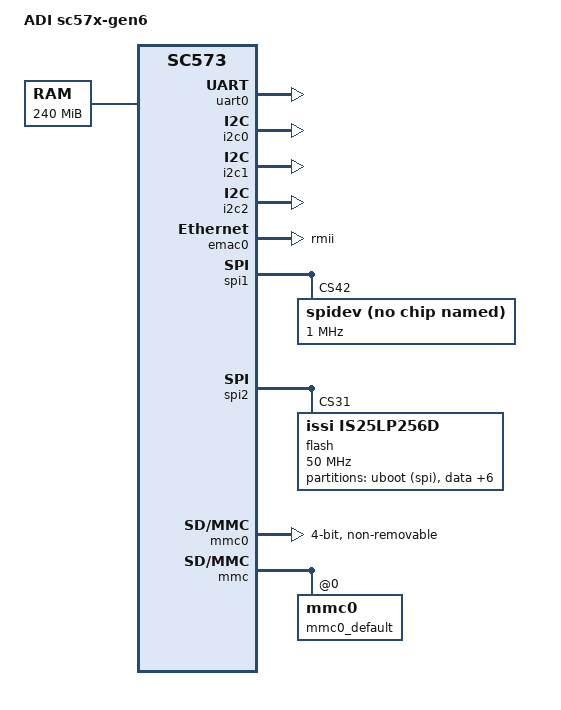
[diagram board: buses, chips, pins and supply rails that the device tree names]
/*
 * Device tree for ADI sc57x-gen6 board
 *
 * Copyright 2014 Analog Devices Inc.
 *
 * Licensed under the GPL-2 or later.
 *
 */

/dts-v1/;

#include "sc57x.dtsi"

/ {
	model = "ADI sc57x-gen6";
	compatible = "adi,sc57x-gen6", "adi,sc57x";

	aliases {
	};

	memory@80000000 {
		device_type = "memory";
		reg = <0x80000000 0xF000000>;
	};

	reserved-memory {
		#address-cells = <1>;
		#size-cells = <1>;
		ranges;

		cont_memory: dsp_res@0x80000000 {
			compatible = "iris,gen6-cont-memory";
			reg = <0x80000000 0x1000000>;
			reg-names = "cont_memory";
		};

		cont_memory_dma: ddr_res_dma@0x80000000 {
			compatible = "iris,gen6-cont-dma-memory";
			reg = <0x81000000 0x1000000>;
			reg-names = "cont_memory_dma";
		};

		sram_mem_dma: sram_res_dma@0x20001000 {
			compatible = "iris,gen6-cont-dma-memory";
			reg = <0x20001000 0x000FE000>;
			reg-names = "sram_mem_dma";
		};

	};

	scb {
		cont_memory_dma {
			compatible = "iris,gen6-cont-dma-memory";
			memory-region = <&sram_mem_dma &cont_memory_dma>;
		};

		cont_memory {
			compatible = "iris,gen6-cont-memory";
			memory-region = <&cont_memory>;
		};

		left_sharc: left_sharc@0x20000000 {
			compatible = "iris,sharc";
			reg = <0x20000000 0x0800>;
			coreid = <1>;
			interrupt-parent = <&gic>;
			interrupts = <GIC_SPI 203 IRQ_TYPE_EDGE_RISING>;
		};
		right_sharc: right_sharc@0x20000800 {
			compatible = "iris,sharc";
			reg = <0x20000800 0x0800>;
			coreid = <2>;
			interrupt-parent = <&gic>;
			interrupts = <GIC_SPI 204 IRQ_TYPE_EDGE_RISING>;
		};

		cache_flush {
			compatible = "iris,cachecontrol-flush";
		};

		gptimer3: gptimer@0x310180C0 {
			compatible = "adi,sc57x-timer,aptina-clk";
		};

		uart0: uart@0x31003000 {
			pinctrl-names = "default", "hwflow";
			pinctrl-0 = <&uart0_default>;
			pinctrl-1 = <&uart0_hwflow>;
			status = "okay";
		};

		i2c0: twi@0x31001400 {
			status = "okay";
		};

		i2c1: twi@0x31001500 {
			status = "okay";
		};

		i2c2: twi@0x31001600 {
			status = "okay";
		};

		tmu@0x31016800 {
			compatible = "adi,sc57x-tmu";
			reg = <0x31016800 0x3C>; 
			interrupt-parent = <&gic>;
			interrupts =	<GIC_SPI 7 IRQ_TYPE_LEVEL_HIGH>, /* TMU0_FAULT */
					<GIC_SPI 8 IRQ_TYPE_LEVEL_HIGH>; /* TMU0_ALERT */
		};

		emac0: ethernet@0x3100C000 {
			phy-mode = "rmii";
			snps,reset-active-low;
			snps,reset-delays-us = <0 10000 10000>;
			snps,fixed-burst;
			snps,burst_len = <0x8>; /* BLEN16 */
			snps,pbl = <2>;
			pinctrl-names = "default";
			pinctrl-0 = <&eth0_default>;
			status = "okay";
		};

		spi1: spi@0x3102F000 {
			pinctrl-names = "default";
			pinctrl-0 = <&spi1_default>;
			status = "okay";

			spidev {
				#address-cells = <1>;
				size-cells = <1>;
				compatible = "rohm,dh2228fv";
				spi-max-frequency = <1000000>;
				reg = <42>;
			};
		};

		spi2: spi@0x31044000 {
			pinctrl-names = "default";
			pinctrl-0 = <&spi2_quad>;
			status = "okay";

			flash: is25lp256d@0 {
				#address-cells = <1>;
				#size-cells = <1>;
				compatible = "issi,is25lp256d", "jedec,spi-nor";
				spi-max-frequency = <50000000>;
				reg = <31>;
				spi-cpol;
				spi-cpha;
				spi-tx-bus-width = <4>;
				spi-rx-bus-width = <4>;
				dma-mode;

				partition@0 {
					label = "uboot (spi)";
					reg = <0x0000000 0x080000>; /* 0.5 MiB */
				};
				partition@1 {
					label = "data";
					reg = <0x0080000 0x100000>; /* 1.0 MiB */
				};
				partition@2 {
					label = "kernel 1. (spi)";
					reg = <0x0180000 0x270000>; /* 2.4375 MiB */
				};
				partition@3 {
					label = "device tree 1. (spi)";
					reg = <0x03F0000 0x010000>; /* 0.0625 MiB */
				};
				partition@4 {
					label = "root file system 1. (spi)";
					reg = <0x0400000 0xCC0000>; /* 12.75 MiB */
				};
				partition@5 {
					label = "kernel 2. (spi)";
					reg = <0x10C0000 0x270000>; /* 2.4375 MiB */
				};
				partition@6 {
					label = "device tree 2. (spi)";
					reg = <0x1330000 0x010000>; /* 0.0625 MiB */
				};
				partition@7 {
					label = "root file system 2. (spi)";
					reg = <0x1340000 0xCC0000>; /* 12.75 MiB */
				};
			};
		};

		mmc0: mmc@0x31010000 {
			pinctrl-names = "default";
			pinctrl-0 = <&mmc0_default>;
			bus-width = <4>;
			non-removable;
			no-1-8-v;
			status = "okay";
		};

		pinctrl@0 {
			mmc {
				mmc0_default: mmc0@0 {
					adi,group = "mmc0f4bgrp";
					adi,function = "mmc0";
				};
			};
			eth {
				eth0_default: eth0@0 {
					adi,group = "eth0rmiigrp";
					adi,function = "eth0";
				};
			};
			ppi {
				ppi0_10b: ppi0@2 {
					adi,group = "ppi0_10bgrp";
					adi,function = "ppi0";
				};
				ppi0_12b: ppi0@3 {
					adi,group = "ppi0_12bgrp";
					adi,function = "ppi0";
				};
			};
		};

		video_decoder_aptina: cap_aptina {
			compatible = "iris,gen6-aptina_mt9v022";
			card-name = "mt9v022";
			type = <2>;
			dma-channel = <28>;
			interrupts = <GIC_SPI 83 IRQ_TYPE_LEVEL_HIGH>;
			reg = <0x3102D000 0xfff>;
			spu_securep_id = <95>;
			i2c_bus_id = <0>;
			pinctrl-names = "8bit", "10bit", "12bit";
			pinctrl-0 = <&ppi0_8b>;
			pinctrl-1 = <&ppi0_10b>;
			pinctrl-2 = <&ppi0_12b>;
		};

		video_decoder_epc660: cap_epc660 {
			compatible = "iris,gen6-epc660";
			card-name = "epc660";
			type = <2>;
			dma-channel = <28>;
			interrupts = <GIC_SPI 83 IRQ_TYPE_LEVEL_HIGH>;
			reg = <0x3102D000 0xfff>;
			spu_securep_id = <95>;
			i2c_bus_id = <0>;
			pinctrl-names = "8bit", "10bit", "12bit";
			pinctrl-0 = <&ppi0_8b>;
			pinctrl-1 = <&ppi0_10b>;
			pinctrl-2 = <&ppi0_12b>;
			nrst-gpios = <&gpb 4 0>;
		};
	};
};
